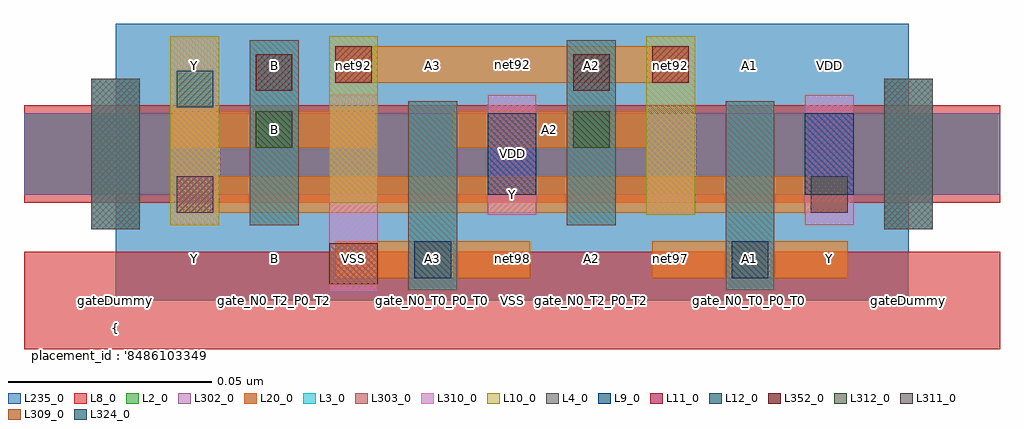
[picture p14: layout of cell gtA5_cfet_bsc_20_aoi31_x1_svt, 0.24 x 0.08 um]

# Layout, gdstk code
import gdstk
lib = gdstk.Library(unit=1e-6, precision=2.5e-10)
def R(c, l, rs):  # rectangles x0, y0, x1, y1
    for r in rs: c.add(gdstk.rectangle(r[:2], r[2:], *l))
L2_0 = (2, 0)
L3_0 = (3, 0)
L4_0 = (4, 0)
L8_0 = (8, 0)
L9_0 = (9, 0)
L10_0 = (10, 0)
L11_0 = (11, 0)
L12_0 = (12, 0)
L20_0 = (20, 0)
L235_0 = (235, 0)
L302_0 = (302, 0)
L303_0 = (303, 0)
L309_0 = (309, 0)
L310_0 = (310, 0)
L311_0 = (311, 0)
L312_0 = (312, 0)
L324_0 = (324, 0)
L352_0 = (352, 0)

gta5_cfet_bsc_20_aoi31_x = lib.new_cell('gtA5_cfet_bsc_20_aoi31_x1_svt')
R(gta5_cfet_bsc_20_aoi31_x, L2_0, [(-0.0225,0.026,0.2175,0.046)])
R(gta5_cfet_bsc_20_aoi31_x, L3_0, [(0.072,0.0025,0.084,0.049), (0.15,0.0025,0.162,0.049), (-0.006,0.0175,0.006,0.0545), (0.189,0.0175,0.201,0.0545), (0.033,0.0185,0.045,0.064), (0.111,0.0185,0.123,0.064)])
R(gta5_cfet_bsc_20_aoi31_x, L4_0, [(-0.006,0.0175,0.006,0.0545), (0.189,0.0175,0.201,0.0545)])
R(gta5_cfet_bsc_20_aoi31_x, L8_0, [(-0.0225,-0.012,0.2175,0.012), (-0.0225,0.024,0.2175,0.048)])
R(gta5_cfet_bsc_20_aoi31_x, L9_0, [(0.0915,0.026,0.1035,0.046), (0.1695,0.026,0.1815,0.046)])
R(gta5_cfet_bsc_20_aoi31_x, L10_0, [(0.0135,0.0185,0.0255,0.065), (0.1305,0.021,0.1425,0.065), (0.0525,0.024,0.0645,0.065)])
R(gta5_cfet_bsc_20_aoi31_x, L11_0, [(0.054,0.0535,0.063,0.0625), (0.132,0.0535,0.141,0.0625)])
R(gta5_cfet_bsc_20_aoi31_x, L12_0, [(0.0735,0.0055,0.0825,0.0145), (0.1515,0.0055,0.1605,0.0145)])
R(gta5_cfet_bsc_20_aoi31_x, L20_0, [(0.054,0.0055,0.102,0.0145), (0.132,0.0055,0.18,0.0145), (0.015,0.0215,0.18,0.0305), (0.014,0.0375,0.064,0.0465), (0.0828,0.0375,0.1308,0.0465), (0.054,0.0535,0.141,0.0625)])
R(gta5_cfet_bsc_20_aoi31_x, L235_0, [(0,0,0.195,0.068)])
R(gta5_cfet_bsc_20_aoi31_x, L302_0, [(-0.0225,0.026,0.2175,0.046)])
R(gta5_cfet_bsc_20_aoi31_x, L303_0, [(0.072,0.0025,0.084,0.049), (0.15,0.0025,0.162,0.049), (-0.006,0.0175,0.006,0.0545), (0.189,0.0175,0.201,0.0545), (0.033,0.0185,0.045,0.064), (0.111,0.0185,0.123,0.064)])
R(gta5_cfet_bsc_20_aoi31_x, L309_0, [(0.0525,0.004,0.0645,0.014)])
R(gta5_cfet_bsc_20_aoi31_x, L310_0, [(0.0525,0.002,0.0645,0.0505), (0.0135,0.0185,0.0255,0.065), (0.1695,0.0185,0.1815,0.0505), (0.0915,0.021,0.1035,0.0505), (0.1305,0.021,0.1425,0.046)])
R(gta5_cfet_bsc_20_aoi31_x, L311_0, [(0.015,0.0215,0.024,0.0305), (0.171,0.0215,0.18,0.0305)])
R(gta5_cfet_bsc_20_aoi31_x, L312_0, [(0.0345,0.0375,0.0435,0.0465), (0.1125,0.0375,0.1215,0.0465)])
R(gta5_cfet_bsc_20_aoi31_x, L324_0, [(0.015,0.0475,0.024,0.0565)])
R(gta5_cfet_bsc_20_aoi31_x, L352_0, [(0.0345,0.0515,0.0435,0.0605), (0.1125,0.0515,0.1215,0.0605)])
gta5_cfet_bsc_20_aoi31_x.add(gdstk.Label('net92', (0.0975,0.058), layer=100, texttype=100))
gta5_cfet_bsc_20_aoi31_x.add(gdstk.Label('gateDummy', (0,0), layer=103, texttype=103))
gta5_cfet_bsc_20_aoi31_x.add(gdstk.Label('sd_N0_T1_P0_T1', (0.0195,0), layer=103, texttype=103))
gta5_cfet_bsc_20_aoi31_x.add(gdstk.Label('gate_N0_T2_P0_T2', (0.039,0), layer=103, texttype=103))
gta5_cfet_bsc_20_aoi31_x.add(gdstk.Label('sd_N0_VSS_P0_T3', (0.0585,0), layer=103, texttype=103))
gta5_cfet_bsc_20_aoi31_x.add(gdstk.Label('gate_N0_T0_P0_T0', (0.078,0), layer=103, texttype=103))
gta5_cfet_bsc_20_aoi31_x.add(gdstk.Label('sd_P0_VDD', (0.0975,0), layer=103, texttype=103))
gta5_cfet_bsc_20_aoi31_x.add(gdstk.Label('gate_N0_T2_P0_T2', (0.117,0), layer=103, texttype=103))
gta5_cfet_bsc_20_aoi31_x.add(gdstk.Label('sd_N0_abut_P0_T3', (0.1365,0), layer=103, texttype=103))
gta5_cfet_bsc_20_aoi31_x.add(gdstk.Label('gate_N0_T0_P0_T0', (0.156,0), layer=103, texttype=103))
gta5_cfet_bsc_20_aoi31_x.add(gdstk.Label('sd_N0_T1_P0_VDD', (0.1755,0), layer=103, texttype=103))
gta5_cfet_bsc_20_aoi31_x.add(gdstk.Label('gateDummy', (0.195,0), layer=103, texttype=103))
gta5_cfet_bsc_20_aoi31_x.add(gdstk.Label('}', (0,-0.0742), layer=104, texttype=104))
gta5_cfet_bsc_20_aoi31_x.add(gdstk.Label('  power : None', (0,-0.0675), layer=104, texttype=104))
gta5_cfet_bsc_20_aoi31_x.add(gdstk.Label('  performance : None', (0,-0.0607), layer=104, texttype=104))
gta5_cfet_bsc_20_aoi31_x.add(gdstk.Label("  solution_hash : '2178420223189902812'", (0,-0.054), layer=104, texttype=104))
gta5_cfet_bsc_20_aoi31_x.add(gdstk.Label('  number_m2 : 0', (0,-0.0473), layer=104, texttype=104))
gta5_cfet_bsc_20_aoi31_x.add(gdstk.Label('  number_m1 : 0', (0,-0.0405), layer=104, texttype=104))
gta5_cfet_bsc_20_aoi31_x.add(gdstk.Label('  number_m0cuts : 0', (0,-0.0338), layer=104, texttype=104))
gta5_cfet_bsc_20_aoi31_x.add(gdstk.Label('  number_m0 : 6', (0,-0.027), layer=104, texttype=104))
gta5_cfet_bsc_20_aoi31_x.add(gdstk.Label("  solution_number : '0000'", (0,-0.0203), layer=104, texttype=104))
gta5_cfet_bsc_20_aoi31_x.add(gdstk.Label("  placement_id : '8486103349760868119'", (0,-0.0135), layer=104, texttype=104))
gta5_cfet_bsc_20_aoi31_x.add(gdstk.Label('{', (0,-0.0067), layer=104, texttype=104))
gta5_cfet_bsc_20_aoi31_x.add(gdstk.Label('Y', (0.0195,0.0103), layer=105, texttype=105))
gta5_cfet_bsc_20_aoi31_x.add(gdstk.Label('B', (0.039,0.0103), layer=105, texttype=105))
gta5_cfet_bsc_20_aoi31_x.add(gdstk.Label('VSS', (0.0585,0.0103), layer=105, texttype=105))
gta5_cfet_bsc_20_aoi31_x.add(gdstk.Label('A3', (0.078,0.0103), layer=105, texttype=105))
gta5_cfet_bsc_20_aoi31_x.add(gdstk.Label('net98', (0.0975,0.0103), layer=105, texttype=105))
gta5_cfet_bsc_20_aoi31_x.add(gdstk.Label('A2', (0.117,0.0103), layer=105, texttype=105))
gta5_cfet_bsc_20_aoi31_x.add(gdstk.Label('net97', (0.1365,0.0103), layer=105, texttype=105))
gta5_cfet_bsc_20_aoi31_x.add(gdstk.Label('A1', (0.156,0.0103), layer=105, texttype=105))
gta5_cfet_bsc_20_aoi31_x.add(gdstk.Label('Y', (0.1755,0.0103), layer=105, texttype=105))
gta5_cfet_bsc_20_aoi31_x.add(gdstk.Label('Y', (0.0195,0.0578), layer=105, texttype=105))
gta5_cfet_bsc_20_aoi31_x.add(gdstk.Label('B', (0.039,0.0578), layer=105, texttype=105))
gta5_cfet_bsc_20_aoi31_x.add(gdstk.Label('net92', (0.0585,0.0578), layer=105, texttype=105))
gta5_cfet_bsc_20_aoi31_x.add(gdstk.Label('A3', (0.078,0.0578), layer=105, texttype=105))
gta5_cfet_bsc_20_aoi31_x.add(gdstk.Label('VDD', (0.0975,0.0578), layer=105, texttype=105))
gta5_cfet_bsc_20_aoi31_x.add(gdstk.Label('A2', (0.117,0.0578), layer=105, texttype=105))
gta5_cfet_bsc_20_aoi31_x.add(gdstk.Label('net92', (0.1365,0.0578), layer=105, texttype=105))
gta5_cfet_bsc_20_aoi31_x.add(gdstk.Label('A1', (0.156,0.0578), layer=105, texttype=105))
gta5_cfet_bsc_20_aoi31_x.add(gdstk.Label('VDD', (0.1755,0.0578), layer=105, texttype=105))
gta5_cfet_bsc_20_aoi31_x.add(gdstk.Label('VSS', (0.0975,0), layer=8, texttype=0))
gta5_cfet_bsc_20_aoi31_x.add(gdstk.Label('VDD', (0.0975,0.036), layer=8, texttype=0))
gta5_cfet_bsc_20_aoi31_x.add(gdstk.Label('A3', (0.078,0.01), layer=20, texttype=251))
gta5_cfet_bsc_20_aoi31_x.add(gdstk.Label('A1', (0.156,0.01), layer=20, texttype=251))
gta5_cfet_bsc_20_aoi31_x.add(gdstk.Label('Y', (0.0975,0.026), layer=20, texttype=251))
gta5_cfet_bsc_20_aoi31_x.add(gdstk.Label('B', (0.039,0.042), layer=20, texttype=251))
gta5_cfet_bsc_20_aoi31_x.add(gdstk.Label('A2', (0.1067,0.042), layer=20, texttype=251))
gta5_cfet_bsc_20_aoi31_x.add(gdstk.Label('gtA5_cfet_bsc_20nm_aoi31_x1_rvt_0', (0,0), layer=235, texttype=0))

lib.write_gds('gtA5_cfet_bsc_20_aoi31_x1_svt.gds')
